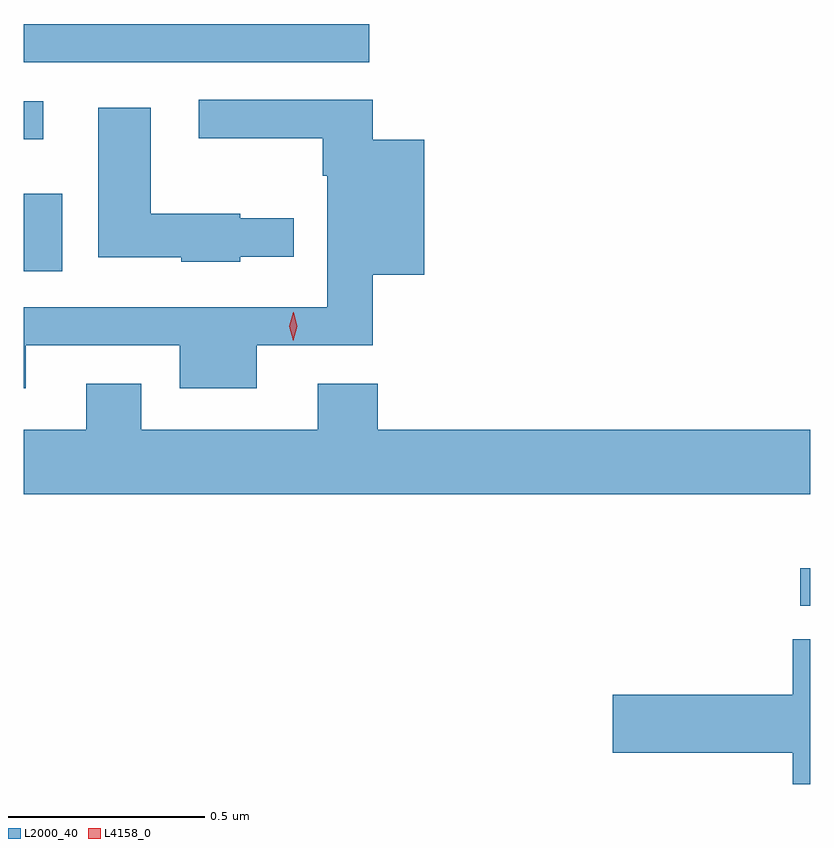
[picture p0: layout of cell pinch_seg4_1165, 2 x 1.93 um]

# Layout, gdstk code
import gdstk
lib = gdstk.Library(unit=1e-6, precision=1e-09)
def R(c, l, rs):  # rectangles x0, y0, x1, y1
    for r in rs: c.add(gdstk.rectangle(r[:2], r[2:], *l))
def P(c, l, *ps):  # polygons
    for p in ps: c.add(gdstk.Polygon(p, *l))
L2000_40 = (2000, 40)
L4158_0 = (4158, 0)

pinch_seg4_1165 = lib.new_cell('pinch_seg4_1165')
R(pinch_seg4_1165, L2000_40, [(436.209,771.228,436.234,771.324), (434.234,772.079,434.332,772.276), (434.234,772.415,434.284,772.512), (434.234,772.611,435.112,772.708)])
P(pinch_seg4_1165, L2000_40, [(434.239,771.891),(434.63,771.891),(434.63,771.782),(434.827,771.782),(434.827,771.891),(435.122,771.891),(435.122,772.07),(435.253,772.07),(435.253,772.414),(435.122,772.414),(435.122,772.515),(434.679,772.515),(434.679,772.418),(434.994,772.418),(434.994,772.322),(435.006,772.322),(435.006,771.987),(434.234,771.987),(434.234,771.782),(434.239,771.782)],
  [(434.784,772.116),(434.92,772.116),(434.92,772.214),(434.784,772.214),(434.784,772.225),(434.557,772.225),(434.557,772.495),(434.423,772.495),(434.423,772.115),(434.634,772.115),(434.634,772.103),(434.784,772.103)],
  [(436.234,771.676),(435.134,771.676),(435.134,771.793),(434.981,771.793),(434.981,771.676),(434.533,771.676),(434.533,771.793),(434.393,771.793),(434.393,771.676),(434.234,771.676),(434.234,771.512),(436.234,771.512)],
  [(436.234,771.143),(436.19,771.143),(436.19,771.002),(435.732,771.002),(435.732,770.855),(436.19,770.855),(436.19,770.775),(436.234,770.775)])
P(pinch_seg4_1165, L4158_0, [(434.919,771.903),(434.919,771.903),(434.909,771.939),(434.919,771.975),(434.92,771.975),(434.92,771.975),(434.929,771.939),(434.919,771.903)])

lib.write_gds('pinch_seg4_1165.gds')
